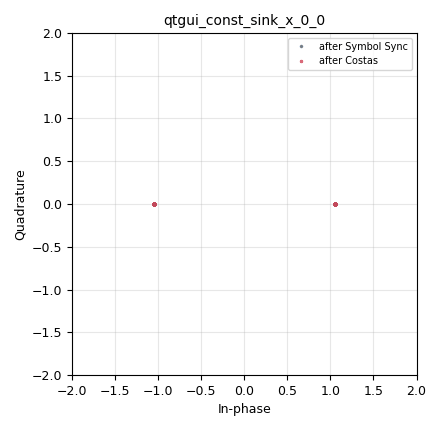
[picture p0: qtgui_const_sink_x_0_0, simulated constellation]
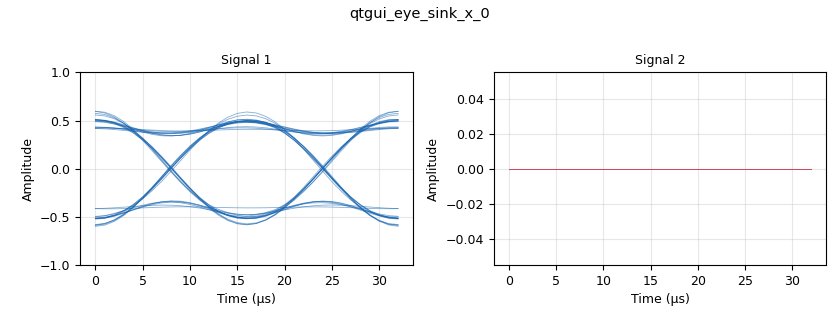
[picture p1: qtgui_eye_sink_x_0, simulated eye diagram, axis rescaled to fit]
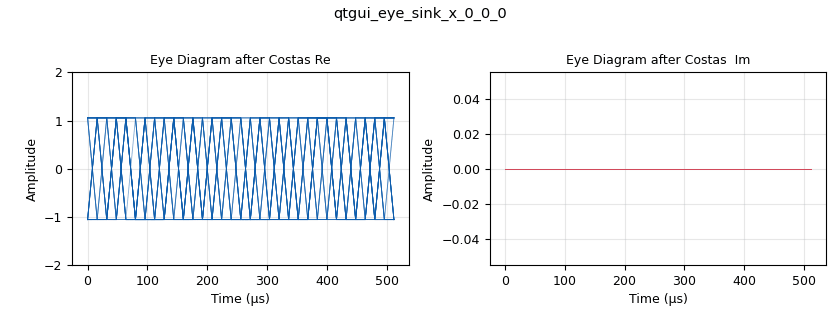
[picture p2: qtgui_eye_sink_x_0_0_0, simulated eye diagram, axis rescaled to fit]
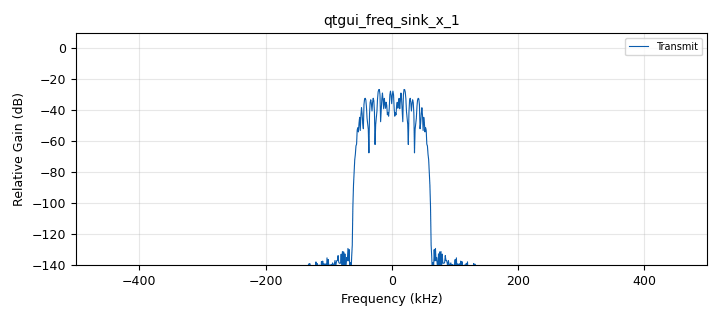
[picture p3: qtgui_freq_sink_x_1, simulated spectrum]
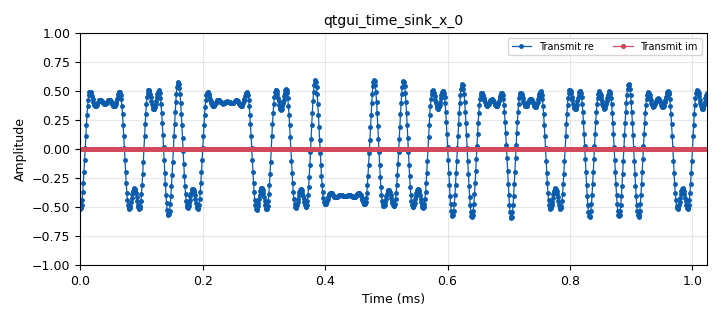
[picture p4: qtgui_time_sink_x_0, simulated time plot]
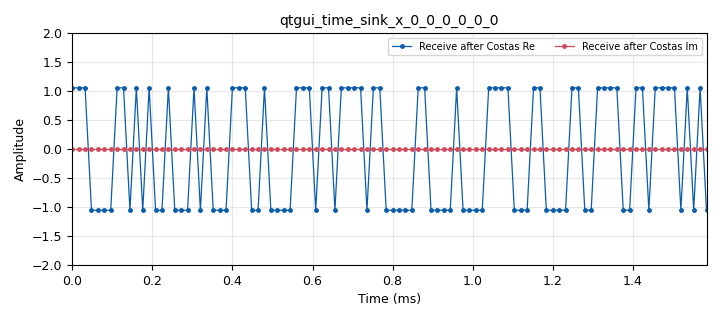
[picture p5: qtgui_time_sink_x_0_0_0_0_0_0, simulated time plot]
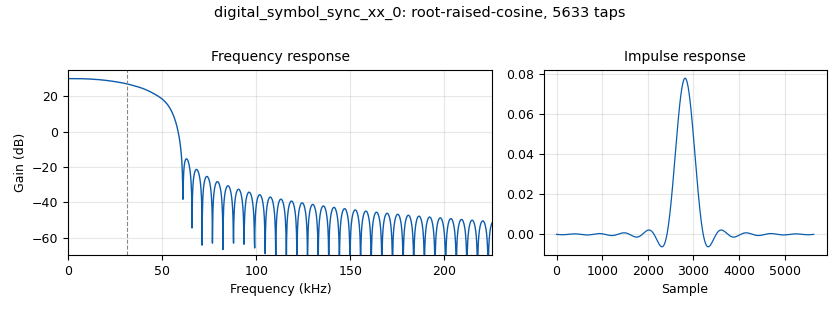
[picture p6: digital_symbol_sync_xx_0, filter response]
options:
  parameters:
    author: brian
    generate_options: qt_gui
    id: EthaNET
    output_language: python
    title: Not titled yet
  states: {}

blocks:
- name: alpha
  id: variable
  parameters:
    comment: |-
      Can't change alpha in real time
      for Consteallation Modulator
    value: '0.9'
  states: {}
- name: center_freq
  id: variable
  parameters:
    value: 915e6
  states: {}
- name: constellation
  id: variable_constellation
  parameters:
    precision: '8'
    type: bpsk
  states: {}
- name: costas_loop_bandwidth_in_cycles_per_sample
  id: variable_qtgui_range
  parameters:
    gui_hint: 21,0
    start: '0.0001'
    step: '0.0001'
    stop: '0.2'
    value: '.01'
  states: {}
- name: nfilts
  id: variable
  parameters:
    value: '32'
  states: {}
- name: offset
  id: variable_qtgui_range
  parameters:
    comment: increased range with FLL
    gui_hint: 6,0
    start: '-500e3'
    step: '1'
    stop: 500e3
    value: '0'
  states: {}
- name: output_sps
  id: variable
  parameters:
    value: '1'
  states: {}
- name: rcc_taps
  id: variable_rrc_filter_taps
  parameters:
    alpha: alpha
    comment: |-
      Gain: nfilts
      Sample Rate: nfilts*samp_rate
      Symbol Rate: samp_rate/sps
      Excess BW: alpha
      Num Taps: 11*sps*nfilts
    gain: nfilts
    ntaps: 11*sps*nfilts
    samp_rate: nfilts*samp_rate
    sym_rate: samp_rate/sps
  states: {}
- name: samp_rate
  id: variable
  parameters:
    value: 1e6
  states: {}
- name: sps
  id: variable
  parameters:
    value: '16'
  states: {}
- name: tx_attenuation
  id: variable_qtgui_range
  parameters:
    gui_hint: 3,0
    start: '0'
    step: '1'
    stop: '89'
    value: '10'
  states: {}
- name: analog_agc_xx_1
  id: analog_agc_xx
  parameters:
    gain: '1.0'
    max_gain: '65536'
    rate: '1e-4'
    reference: '1.0'
    type: complex
  states: {}
- name: analog_random_uniform_source_x_0_0_0
  id: analog_random_uniform_source_x
  parameters:
    comment: |-
      random bytes;
      simulates input from TX python script
    maximum: '256'
    minimum: '0'
    seed: '0'
    type: byte
  states: {}
- name: analog_sig_source_x_0
  id: analog_sig_source_x
  parameters:
    amp: '1'
    freq: offset
    offset: '0'
    phase: '0'
    samp_rate: samp_rate
    type: complex
    waveform: analog.GR_COS_WAVE
  states: {}
- name: blocks_multiply_const_vxx_0
  id: blocks_multiply_const_vxx
  parameters:
    comment: |-
      Keep the signal from going
      above +1 or below -1
    const: '0.4'
    type: complex
  states: {}
- name: blocks_multiply_xx_0
  id: blocks_multiply_xx
  parameters:
    type: complex
  states: {}
- name: blocks_skiphead_0
  id: blocks_skiphead
  parameters:
    comment: |-
      skip one second of samples
      to allow FLL to sync
    num_items: int(samp_rate)
    type: complex
  states: {}
- name: blocks_unpacked_to_packed_xx_0
  id: blocks_unpacked_to_packed_xx
  parameters:
    bits_per_chunk: '1'
    endianness: gr.GR_MSB_FIRST
    type: byte
  states: {state: disabled}
- name: digital_constellation_decoder_cb_0
  id: digital_constellation_decoder_cb
  parameters:
    constellation: constellation
  states: {state: disabled}
- name: digital_constellation_modulator_0
  id: digital_constellation_modulator
  parameters:
    comment: |-
      Unpack bytes into chunks of bits,
      look up constellation symbol,
      and apply RRC filter
    constellation: constellation
    differential: 'False'
    excess_bw: alpha
    samples_per_symbol: sps
  states: {}
- name: digital_costas_loop_cc_0
  id: digital_costas_loop_cc
  parameters:
    order: constellation.arity()
    w: 2*math.pi*costas_loop_bandwidth_in_cycles_per_sample
  states: {}
- name: digital_fll_band_edge_cc_0
  id: digital_fll_band_edge_cc
  parameters:
    comment: |-
      Samples Per Symbol: sps
      Filter Rolloff Factor: alpha
      Prototype Filter Size: sps*2+1
      Loop Bandwidth: 2*math.pi/sps/100
    filter_size: sps*2+1
    rolloff: alpha
    samps_per_sym: sps
    type: cc
    w: 2*math.pi/sps/100
  states: {}
- name: digital_packet_headerparser_b_0
  id: digital_packet_headerparser_b
  parameters: {}
  states: {state: disabled}
- name: digital_symbol_sync_xx_0
  id: digital_symbol_sync_xx
  parameters:
    comment: |-
      Filterbank Arms: nfilts
      PFB MF Taps: rcc_taps
      Changed Maximum Deviation to 0.1 because 
      the clocks aren't more off than 0.1 samples per symbol
    damping: '1.0'
    loop_bw: '0.045'
    max_dev: '0.1'
    nfilters: nfilts
    osps: output_sps
    pfb_mf_taps: rcc_taps
    resamp_type: digital.IR_PFB_MF
    sps: sps
    ted_gain: '1.0'
    ted_type: digital.TED_SIGNAL_TIMES_SLOPE_ML
    type: cc
  states: {}
- name: iio_pluto_sink_0_0
  id: iio_pluto_sink
  parameters:
    attenuation1: tx_attenuation
    bandwidth: int(samp_rate)
    buffer_size: '32768'
    cyclic: 'False'
    filter_source: '''Auto'''
    frequency: int(center_freq)
    samplerate: int(samp_rate)
    type: fc32
    uri: 192.168.2.1
  states: {state: disabled}
- name: iio_pluto_source_0
  id: iio_pluto_source
  parameters:
    bandwidth: '20000000'
    bbdc: 'True'
    buffer_size: '32768'
    filter_source: '''Auto'''
    frequency: int(center_freq)
    gain1: '''slow_attack'''
    quadrature: 'True'
    rfdc: 'True'
    samplerate: int(samp_rate)
    type: fc32
  states: {state: disabled}
- name: import_0
  id: import
  parameters:
    imports: import math
  states: {}
- name: note_0
  id: note
  parameters:
    note: RRC pulse shape
  states: {}
- name: note_1
  id: note
  parameters:
    note: BPSK
  states: {}
- name: note_2
  id: note
  parameters:
    note: Read data from a file as data to TX
  states: {}
- name: note_3
  id: note
  parameters:
    note: Preamble (010101010101...)
  states: {}
- name: pdu_pdu_to_tagged_stream_0
  id: pdu_pdu_to_tagged_stream
  parameters:
    tag: packet_len
    type: byte
  states: {state: disabled}
- name: qtgui_const_sink_x_0_0
  id: qtgui_const_sink_x
  parameters:
    comment: makes most sense if "Output Samples/Symbol" is 1
    gui_hint: 17,0
    label1: after Symbol Sync
    label2: after Costas
    nconnections: '2'
    size: '1024'
    type: complex
  states: {}
- name: qtgui_eye_sink_x_0
  id: qtgui_eye_sink_x
  parameters:
    samp_per_symbol: sps
    size: '1024'
    srate: samp_rate
    type: complex
  states: {}
- name: qtgui_eye_sink_x_0_0_0
  id: qtgui_eye_sink_x
  parameters:
    gui_hint: 16,0
    label1: Eye Diagram after Costas Re
    label2: Eye Diagram after Costas  Im
    marker1: '0'
    marker2: '0'
    samp_per_symbol: sps
    size: '1024'
    srate: samp_rate/sps*output_sps
    type: complex
    ymax: '2'
    ymin: '-2'
  states: {}
- name: qtgui_freq_sink_x_1
  id: qtgui_freq_sink_x
  parameters:
    bw: samp_rate
    fc: '0'
    fftsize: '1024'
    gui_hint: 1,0
    label1: Transmit
    type: complex
  states: {}
- name: qtgui_time_sink_x_0
  id: qtgui_time_sink_x
  parameters:
    gui_hint: 0,0
    label1: Transmit re
    label2: Transmit im
    marker1: '0'
    marker2: '0'
    size: '1024'
    srate: samp_rate
    type: complex
  states: {}
- name: qtgui_time_sink_x_0_0_0_0_0_0
  id: qtgui_time_sink_x
  parameters:
    gui_hint: 18,0
    label1: Receive after Costas Re
    label2: Receive after Costas Im
    marker1: '0'
    marker2: '0'
    size: '100'
    srate: samp_rate/sps*output_sps
    type: complex
    ymax: '2'
    ymin: '-2'
  states: {}
- name: zeromq_rep_msg_sink_0
  id: zeromq_rep_msg_sink
  parameters:
    address: 192.168.0.50
    timeout: '100'
  states: {state: disabled}
- name: zeromq_req_msg_source_0
  id: zeromq_req_msg_source
  parameters:
    timeout: '100'
  states: {state: disabled}
- name: zeromq_sub_msg_source_0
  id: zeromq_sub_msg_source
  parameters:
    address: tcp://voltron.byu.edu:5555
    timeout: '100'
  states: {state: disabled}

connections:
- [analog_agc_xx_1, '0', digital_fll_band_edge_cc_0, '0']
- [analog_random_uniform_source_x_0_0_0, '0', digital_constellation_modulator_0, '0']
- [analog_sig_source_x_0, '0', blocks_multiply_xx_0, '1']
- [blocks_multiply_const_vxx_0, '0', blocks_multiply_xx_0, '0']
- [blocks_multiply_const_vxx_0, '0', iio_pluto_sink_0_0, '0']
- [blocks_multiply_const_vxx_0, '0', qtgui_eye_sink_x_0, '0']
- [blocks_multiply_const_vxx_0, '0', qtgui_freq_sink_x_1, '0']
- [blocks_multiply_const_vxx_0, '0', qtgui_time_sink_x_0, '0']
- [blocks_multiply_xx_0, '0', analog_agc_xx_1, '0']
- [blocks_skiphead_0, '0', digital_symbol_sync_xx_0, '0']
- [digital_constellation_decoder_cb_0, '0', blocks_unpacked_to_packed_xx_0, '0']
- [digital_constellation_modulator_0, '0', blocks_multiply_const_vxx_0, '0']
- [digital_costas_loop_cc_0, '0', digital_constellation_decoder_cb_0, '0']
- [digital_costas_loop_cc_0, '0', qtgui_const_sink_x_0_0, '1']
- [digital_costas_loop_cc_0, '0', qtgui_eye_sink_x_0_0_0, '0']
- [digital_costas_loop_cc_0, '0', qtgui_time_sink_x_0_0_0_0_0_0, '0']
- [digital_fll_band_edge_cc_0, '0', blocks_skiphead_0, '0']
- [digital_symbol_sync_xx_0, '0', digital_costas_loop_cc_0, '0']
- [digital_symbol_sync_xx_0, '0', qtgui_const_sink_x_0_0, '0']
- [iio_pluto_source_0, '0', analog_agc_xx_1, '0']
- [pdu_pdu_to_tagged_stream_0, '0', digital_constellation_modulator_0, '0']
- [zeromq_sub_msg_source_0, out, pdu_pdu_to_tagged_stream_0, pdus]

metadata:
  file_format: 1
  grc_version: 3.10.10.0
